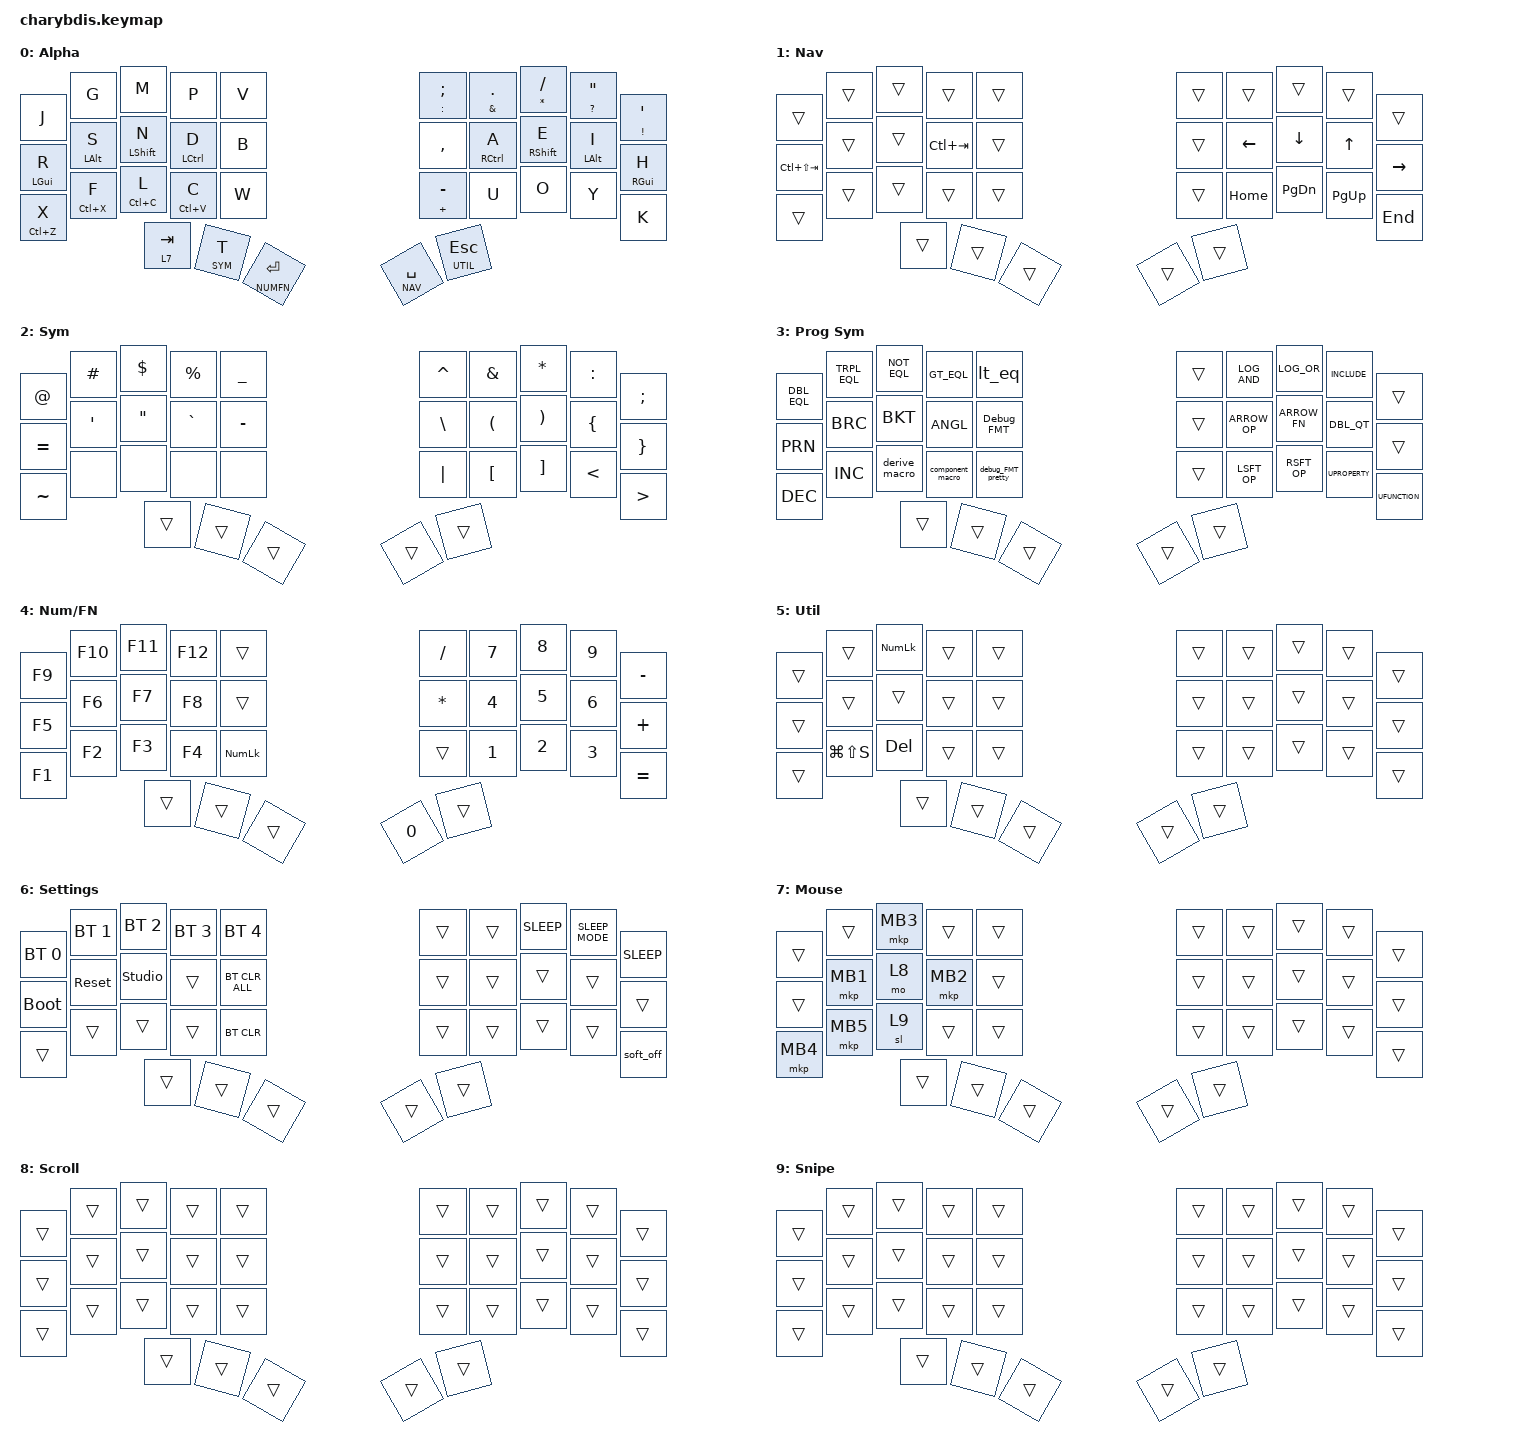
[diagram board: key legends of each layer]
#include "layers.conf"
#include "macros.conf"
#include "combos.conf"
#include <dt-bindings/zmk/mouse.h>
#include <input/processors.dtsi>
#include <dt-bindings/zmk/input_transform.h>
#include <behaviors.dtsi>
#include <dt-bindings/zmk/bt.h>
#include <dt-bindings/zmk/keys.h>
#include <dt-bindings/zmk/pointing.h>

/ {
    trackball_listener {
        compatible = "zmk,input-listener";
        device = <&trackball_split>;

        snipe {
            layers = <SNIPE>;
            input-processors = <&zip_xy_scaler 1 3>;
        };

        scroll {
            layers = <SCROLL>;
            input-processors =
                <&zip_xy_scaler 1 3>,
                <&zip_xy_to_scroll_mapper>,
                <&zip_scroll_transform (INPUT_TRANSFORM_Y_INVERT)>;
        };
    };

    behaviors {
        hm: homerow_mods {
            compatible = "zmk,behavior-hold-tap";
            #binding-cells = <2>;
            tapping-term-ms = <200>;
            flavor = "tap-preferred";
            bindings = <&kp>, <&kp>;
        };

        kp_sl: behavior_kp_sl {
            compatible = "zmk,behavior-hold-tap";
            #binding-cells = <2>;
            flavor = "hold-preferred";
            tapping-term-ms = <200>;
            bindings = <&sl>, <&kp>;
        };

        ht: behavior_hold_tap_key {
            compatible = "zmk,behavior-hold-tap";
            #binding-cells = <2>;
            flavor = "hold-preferred";
            tapping-term-ms = <200>;
            bindings = <&kp>, <&kp>;
        };
    };

    conditional_layers {
        compatible = "zmk,conditional-layers";

        settings_trigger {
            if-layers = <1 4>;
            then-layer = <6>;
        };
    };

    combos {
        compatible = "zmk,combos";

        KP_Z {
            bindings = <&kp Z>;
            key-positions = <0 1>;
        };

        KP_Q {
            bindings = <&kp Q>;
            key-positions = <1 2>;
        };
    };

    macros {
        Debug_FMT: Debug_FMT {
            compatible = "zmk,behavior-macro";
            #binding-cells = <0>;
            bindings = <&kp LEFT_BRACE &kp COLON &kp QMARK &kp RBRC>;
            label = "DEBUG_FMT";
        };

        debug_FMT_pretty: debug_FMT_pretty {
            compatible = "zmk,behavior-macro";
            #binding-cells = <0>;
            bindings = <&kp LEFT_BRACE &kp COLON &kp POUND &kp QMARK &kp RBRC>;
            label = "DEBUG_FMT_PRETTY";
        };

        derive_macro: derive {
            compatible = "zmk,behavior-macro";
            #binding-cells = <0>;
            bindings = <&kp POUND &kp LBKT &kp D &kp E &kp R &kp I &kp V &kp E &kp LPAR &kp RPAR &kp RIGHT_BRACKET &kp LEFT &kp LEFT>;
            label = "DERIVE";
        };

        component_macro: component_macro {
            compatible = "zmk,behavior-macro";
            #binding-cells = <0>;
            bindings = <&kp POUND &kp LBKT &kp C &kp O &kp M &kp P &kp O &kp N &kp E &kp N &kp T &kp RIGHT_BRACKET &kp RETURN>;
            label = "COMPONENT_MACRO";
        };

        lt_eq: lt_eq {
            compatible = "zmk,behavior-macro";
            #binding-cells = <0>;
            bindings = <&kp LT &kp EQUAL &kp SPACE>;
            label = "LT_EQ";
        };
    };

    keymap {
        compatible = "zmk,keymap";

        base_layer {
            display-name = "Alpha";
            bindings = <
  &kp J        &kp G        &kp M        &kp P        &kp V              &ht COLON SEMICOLON  &ht AMPERSAND PERIOD  &ht ASTERISK SLASH  &ht QUESTION DOUBLE_QUOTES  &ht EXCLAMATION SQT
  &hm LGUI R   &hm LALT S   &hm LSHFT N  &hm LCTRL D  &kp B              &kp COMMA            &hm RCTRL A           &hm RSHFT E         &hm LALT I                  &hm RGUI H
  &mt LC(Z) X  &mt LC(X) F  &mt LC(C) L  &mt LC(V) C  &kp W              &ht PLUS MINUS       &kp U                 &kp O               &kp Y                       &kp K
                            &lt 7 TAB    &lt SYM T    &lt NUMFN ENTER    &lt NAV SPACE        &lt UTIL ESC
            >;
        };

        nav_layer {
            display-name = "Nav";
            bindings = <
  &trans           &trans  &trans  &trans       &trans    &trans  &trans    &trans     &trans     &trans
  &kp LC(LS(TAB))  &trans  &trans  &kp LC(TAB)  &trans    &trans  &kp LEFT  &kp DOWN   &kp UP     &kp RIGHT
  &trans           &trans  &trans  &trans       &trans    &trans  &kp HOME  &kp PG_DN  &kp PG_UP  &kp END
                           &trans  &trans       &trans    &trans  &trans
            >;
        };

        sym_layer {
            display-name = "Sym";
            bindings = <
  &kp AT     &kp HASH  &kp DLLR  &kp PRCNT  &kp UNDER    &kp CARET  &kp AMPS  &kp STAR  &kp COLON  &kp SEMI
  &kp EQUAL  &kp APOS  &kp DQT   &kp GRAVE  &kp MINUS    &kp BSLH   &kp LPAR  &kp RPAR  &kp LBRC   &kp RBRC
  &kp TILDE  &none     &none     &none      &none        &kp PIPE   &kp LBKT  &kp RBKT  &kp LT     &kp GT
                       &trans    &trans     &trans       &trans     &trans
            >;
        };

        prog_sym_layer {
            display-name = "Prog Sym";
            bindings = <
  &DBL_EQL  &TRPL_EQL  &NOT_EQL       &GT_EQL           &lt_eq               &trans  &LOG_AND   &LOG_OR    &INCLUDE    &trans
  &PRN      &BRC       &BKT           &ANGL             &Debug_FMT           &trans  &ARROW_OP  &ARROW_FN  &DBL_QT     &trans
  &DEC      &INC       &derive_macro  &component_macro  &debug_FMT_pretty    &trans  &LSFT_OP   &RSFT_OP   &UPROPERTY  &UFUNCTION
                       &trans         &trans            &trans               &trans  &trans
            >;
        };

        numfn_layer {
            display-name = "Num/FN";
            bindings = <
  &kp F9  &kp F10  &kp F11  &kp F12  &trans            &kp SLASH  &kp N7  &kp N8  &kp N9  &kp MINUS
  &kp F5  &kp F6   &kp F7   &kp F8   &trans            &kp STAR   &kp N4  &kp N5  &kp N6  &kp PLUS
  &kp F1  &kp F2   &kp F3   &kp F4   &kp KP_NUMLOCK    &trans     &kp N1  &kp N2  &kp N3  &kp EQUAL
                   &trans   &trans   &trans            &kp N0     &trans
            >;
        };

        util_layer {
            display-name = "Util";
            bindings = <
  &trans  &trans         &kp KP_NUMLOCK  &trans  &trans    &trans  &trans  &trans  &trans  &trans
  &trans  &trans         &trans          &trans  &trans    &trans  &trans  &trans  &trans  &trans
  &trans  &kp LG(LS(S))  &kp DEL         &trans  &trans    &trans  &trans  &trans  &trans  &trans
                         &trans          &trans  &trans    &trans  &trans
            >;
        };

        settings_layer {
            display-name = "Settings";
            bindings = <
  &bt BT_SEL 0  &bt BT_SEL 1  &bt BT_SEL 2    &bt BT_SEL 3  &bt BT_SEL 4      &trans  &trans  &kp K_SLEEP  &kp C_SLEEP_MODE  &kp C_SLEEP
  &bootloader   &sys_reset    &studio_unlock  &trans        &bt BT_CLR_ALL    &trans  &trans  &trans       &trans            &trans
  &trans        &trans        &trans          &trans        &bt BT_CLR        &trans  &trans  &trans       &trans            &soft_off
                              &trans          &trans        &trans            &trans  &trans
            >;
        };

        mouse_layer {
            display-name = "Mouse";
            bindings = <
  &trans    &trans    &mkp MB3  &trans    &trans    &trans  &trans  &trans  &trans  &trans
  &trans    &mkp MB1  &mo 8     &mkp MB2  &trans    &trans  &trans  &trans  &trans  &trans
  &mkp MB4  &mkp MB5  &sl 9     &trans    &trans    &trans  &trans  &trans  &trans  &trans
                      &trans    &trans    &trans    &trans  &trans
            >;
        };

        scroll_layer {
            display-name = "Scroll";
            bindings = <
  &trans  &trans  &trans  &trans  &trans    &trans  &trans  &trans  &trans  &trans
  &trans  &trans  &trans  &trans  &trans    &trans  &trans  &trans  &trans  &trans
  &trans  &trans  &trans  &trans  &trans    &trans  &trans  &trans  &trans  &trans
                  &trans  &trans  &trans    &trans  &trans
            >;
        };

        snipe_layer {
            display-name = "Snipe";
            bindings = <
  &trans  &trans  &trans  &trans  &trans    &trans  &trans  &trans  &trans  &trans
  &trans  &trans  &trans  &trans  &trans    &trans  &trans  &trans  &trans  &trans
  &trans  &trans  &trans  &trans  &trans    &trans  &trans  &trans  &trans  &trans
                  &trans  &trans  &trans    &trans  &trans
            >;
        };
    };
};
